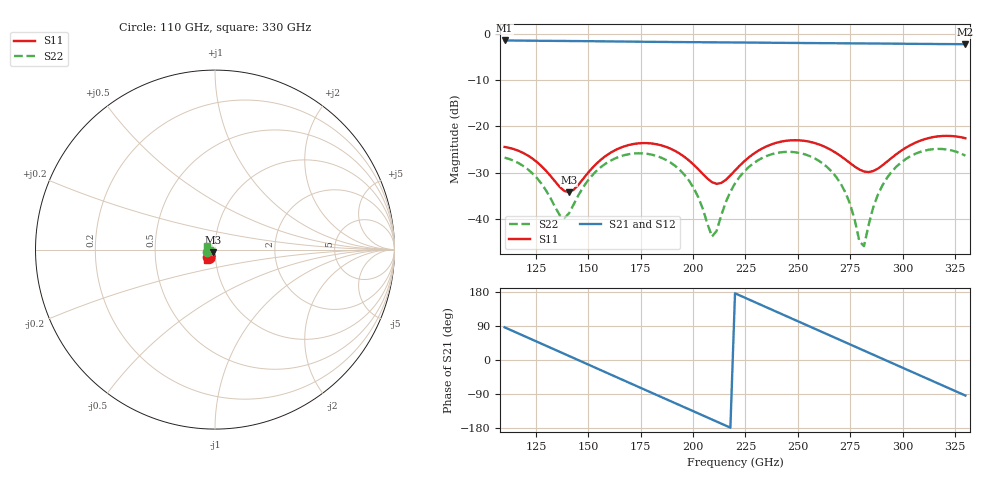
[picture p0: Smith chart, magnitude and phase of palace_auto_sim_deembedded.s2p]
! Created with skrf 1.11.0 (http://scikit-rf.org).
# GHz S DB R 50.0
!freq dBS11 angS11 dBS21 angS21 dBS12 angS12 dBS22 angS22
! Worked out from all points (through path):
!   101 points, 110 GHz to 330 GHz, reference 50 ohm
!   highest |S21| = -1.44 dB at 110 GHz (marker M1); lowest = -2.2 dB at 330 GHz (marker M2)
!   group delay of S21, straight-line fit = 6.82 ps
!   lowest |S11| = -34.2 dB at 140.8 GHz (marker M3), VSWR 1.04, Z = 48.8 - j1.51 ohm
!   |S11| at or under -10 dB: start of sweep to end of sweep
!   |S22| runs from -45.9 to -24.8 dB; largest |S21 - S12| = 9.6e-14
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110  -24.42 -137.8  -1.44 86.2  -1.44 86.2  -26.73 -162.9
123.2  -26.90 -158.1  -1.49 53.8  -1.49 53.8  -30.09 171.4
136.4  -33.10 -149.9  -1.54 21.3  -1.54 21.3  -39.21 -171.4
140.8  -34.18 -127.5  -1.56 10.5  -1.56 10.5  -38.71 -132.7
147.4  -31.37 -101.1  -1.58 -5.7  -1.58 -5.7  -33.20 -115.2
156.2  -27.09 -99.2  -1.62 -27.4  -1.62 -27.4  -28.69 -125.0
167.2  -24.28 -113.4  -1.67 -54.5  -1.67 -54.5  -26.20 -147.2
184.8  -24.08 -141.7  -1.75 -97.7  -1.75 -97.7  -26.75 173.5
198  -27.34 -155.7  -1.80 -130.0  -1.80 -130.0  -31.68 147.7
209  -32.03 -138.2  -1.84 -157.0  -1.84 -157.0  -43.77 -174.6
220  -29.52 -98.9  -1.87 176.0  -1.87 176.0  -32.32 -115.9
228.8  -25.93 -98.1  -1.90 154.3  -1.90 154.3  -27.96 -131.3
239.8  -23.52 -110.4  -1.94 127.3  -1.94 127.3  -25.74 -155.6
257.4  -23.50 -134.6  -2.00 84.2  -2.00 84.2  -26.75 164.0
270.6  -26.44 -144.1  -2.04 51.8  -2.04 51.8  -32.45 137.6
275  -27.93 -141.3  -2.06 41.0  -2.06 41.0  -36.82 134.5
279.4  -29.31 -132.9  -2.07 30.2  -2.07 30.2  -44.83 159.7
281.6  -29.73 -126.4  -2.08 24.8  -2.08 24.8  -45.85 -147.7
288.2  -29.11 -105.5  -2.10 8.6  -2.10 8.6  -34.76 -111.7
294.8  -26.78 -95.6  -2.12 -7.6  -2.12 -7.6  -29.78 -121.4
314.6  -22.30 -109.2  -2.20 -56.1  -2.20 -56.1  -24.90 -166.3
330  -22.54 -127.5  -2.24 -93.8  -2.24 -93.8  -26.31 156.3
